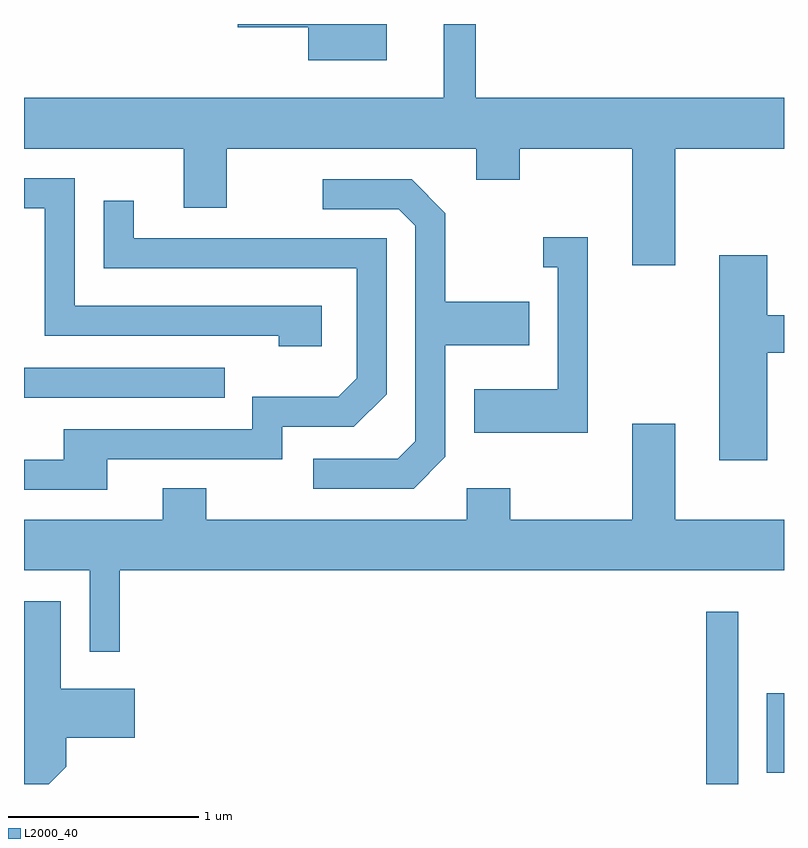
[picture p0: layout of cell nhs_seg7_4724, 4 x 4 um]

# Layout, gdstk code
import gdstk
lib = gdstk.Library(unit=1e-6, precision=1e-09)
def R(c, l, rs):  # rectangles x0, y0, x1, y1
    for r in rs: c.add(gdstk.rectangle(r[:2], r[2:], *l))
def P(c, l, *ps):  # polygons
    for p in ps: c.add(gdstk.Polygon(p, *l))
L2000_40 = (2000, 40)

nhs_seg7_4724 = lib.new_cell('nhs_seg7_4724')
R(nhs_seg7_4724, L2000_40, [(333.201,1764.252,333.369,1765.158), (333.521,1764.311,333.611,1764.729), (329.611,1766.286,330.668,1766.444)])
P(nhs_seg7_4724, L2000_40, [(333.039,1767.596),(333.611,1767.596),(333.611,1767.864),(331.989,1767.864),(331.989,1768.252),(331.821,1768.252),(331.821,1767.864),(329.611,1767.864),(329.611,1767.596),(330.451,1767.596),(330.451,1767.286),(330.679,1767.286),(330.679,1767.596),(331.991,1767.596),(331.991,1767.431),(332.219,1767.431),(332.219,1767.596),(332.811,1767.596),(332.811,1766.981),(333.039,1766.981)],
  [(331.519,1768.252),(330.736,1768.252),(330.736,1768.236),(331.106,1768.236),(331.106,1768.061),(331.519,1768.061)],
  [(331.179,1766.769),(329.879,1766.769),(329.879,1767.439),(329.611,1767.439),(329.611,1767.281),(329.721,1767.281),(329.721,1766.611),(330.951,1766.611),(330.951,1766.556),(331.179,1766.556)],
  [(331.829,1765.974),(331.829,1766.561),(332.269,1766.561),(332.269,1766.789),(331.829,1766.789),(331.829,1767.257),(331.652,1767.434),(331.183,1767.434),(331.183,1767.276),(331.584,1767.276),(331.671,1767.189),(331.671,1766.057),(331.579,1765.964),(331.133,1765.964),(331.133,1765.806),(331.662,1765.806)],
  [(330.049,1765.961),(330.969,1765.961),(330.969,1766.131),(331.347,1766.131),(331.519,1766.304),(331.519,1767.124),(330.189,1767.124),(330.189,1767.323),(330.031,1767.323),(330.031,1766.966),(331.361,1766.966),(331.361,1766.387),(331.264,1766.289),(330.811,1766.289),(330.811,1766.119),(329.821,1766.119),(329.821,1765.959),(329.611,1765.959),(329.611,1765.801),(330.049,1765.801)],
  [(332.579,1767.129),(332.343,1767.129),(332.343,1766.971),(332.421,1766.971),(332.421,1766.329),(331.981,1766.329),(331.981,1766.101),(332.579,1766.101)],
  [(333.524,1766.521),(333.611,1766.521),(333.611,1766.719),(333.524,1766.719),(333.524,1767.034),(333.271,1767.034),(333.271,1765.956),(333.524,1765.956)],
  [(330.114,1765.376),(333.611,1765.376),(333.611,1765.644),(333.039,1765.644),(333.039,1766.149),(332.811,1766.149),(332.811,1765.644),(332.169,1765.644),(332.169,1765.809),(331.941,1765.809),(331.941,1765.644),(330.569,1765.644),(330.569,1765.809),(330.341,1765.809),(330.341,1765.644),(329.611,1765.644),(329.611,1765.376),(329.956,1765.376),(329.956,1764.948),(330.114,1764.948)],
  [(329.834,1764.344),(329.834,1764.496),(330.194,1764.496),(330.194,1764.754),(329.804,1764.754),(329.804,1765.214),(329.611,1765.214),(329.611,1764.252),(329.742,1764.252)])

lib.write_gds('nhs_seg7_4724.gds')
